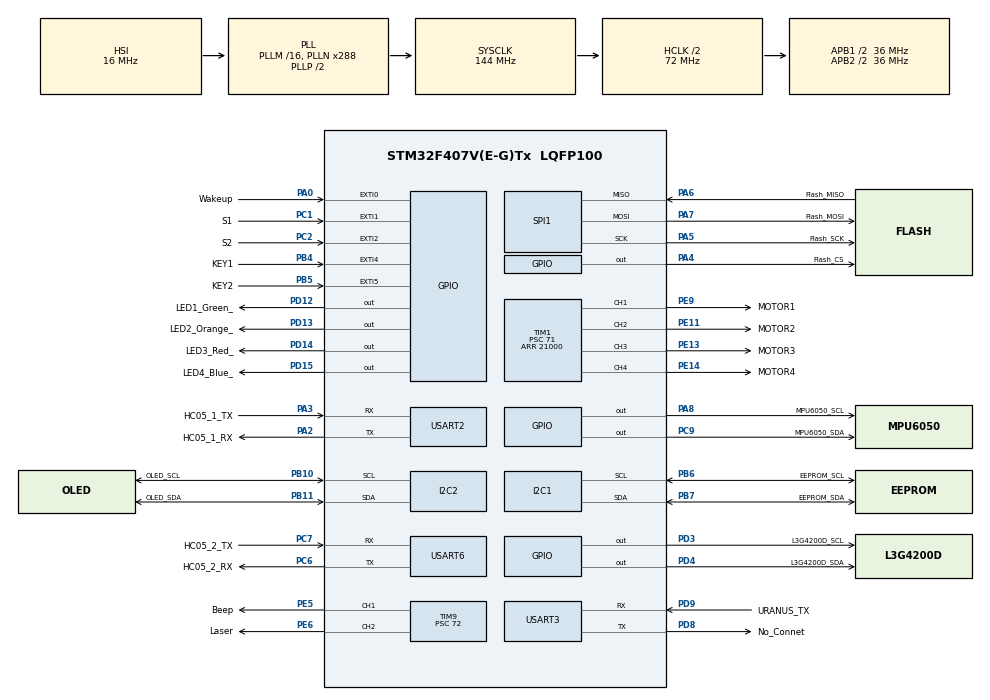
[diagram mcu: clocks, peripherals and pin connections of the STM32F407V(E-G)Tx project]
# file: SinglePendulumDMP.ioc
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Dma.Request0=USART3_RX
Dma.Request1=USART2_RX
Dma.Request2=USART2_TX
Dma.USART2_RX.1.Channel=DMA_CHANNEL_4
Dma.USART2_RX.1.Direction=DMA_PERIPH_TO_MEMORY
Dma.USART2_RX.1.FIFOMode=DMA_FIFOMODE_DISABLE
Dma.USART2_RX.1.Instance=DMA1_Stream5
Dma.USART2_RX.1.MemDataAlignment=DMA_MDATAALIGN_BYTE
Dma.USART2_RX.1.MemInc=DMA_MINC_ENABLE
Dma.USART2_RX.1.Mode=DMA_NORMAL
Dma.USART2_RX.1.PeriphDataAlignment=DMA_PDATAALIGN_BYTE
Dma.USART2_RX.1.PeriphInc=DMA_PINC_DISABLE
Dma.USART2_RX.1.Priority=DMA_PRIORITY_LOW
Dma.USART2_TX.2.Channel=DMA_CHANNEL_4
Dma.USART2_TX.2.Direction=DMA_MEMORY_TO_PERIPH
Dma.USART2_TX.2.FIFOMode=DMA_FIFOMODE_DISABLE
Dma.USART2_TX.2.Instance=DMA1_Stream6
Dma.USART2_TX.2.MemDataAlignment=DMA_MDATAALIGN_BYTE
Dma.USART2_TX.2.MemInc=DMA_MINC_ENABLE
Dma.USART2_TX.2.Mode=DMA_NORMAL
Dma.USART2_TX.2.PeriphDataAlignment=DMA_PDATAALIGN_BYTE
Dma.USART2_TX.2.PeriphInc=DMA_PINC_DISABLE
Dma.USART2_TX.2.Priority=DMA_PRIORITY_LOW
Dma.USART3_RX.0.Channel=DMA_CHANNEL_4
Dma.USART3_RX.0.Direction=DMA_PERIPH_TO_MEMORY
Dma.USART3_RX.0.FIFOMode=DMA_FIFOMODE_DISABLE
Dma.USART3_RX.0.Instance=DMA1_Stream1
Dma.USART3_RX.0.MemDataAlignment=DMA_MDATAALIGN_BYTE
Dma.USART3_RX.0.MemInc=DMA_MINC_ENABLE
Dma.USART3_RX.0.Mode=DMA_CIRCULAR
Dma.USART3_RX.0.PeriphDataAlignment=DMA_PDATAALIGN_BYTE
Dma.USART3_RX.0.PeriphInc=DMA_PINC_DISABLE
Dma.USART3_RX.0.Priority=DMA_PRIORITY_LOW
Mcu.Family=STM32F4
Mcu.Name=STM32F407V(E-G)Tx
Mcu.Package=LQFP100
NVIC.DMA1_Stream1_IRQn=true\:1\:0\:true
NVIC.DMA1_Stream5_IRQn=true\:2\:0\:true
NVIC.DMA1_Stream6_IRQn=true\:3\:0\:true
NVIC.EXTI0_IRQn=true\:0\:0\:false
NVIC.EXTI1_IRQn=true\:0\:0\:false
NVIC.EXTI2_IRQn=true\:0\:0\:false
NVIC.EXTI4_IRQn=true\:0\:0\:false
NVIC.EXTI9_5_IRQn=true\:0\:0\:false
NVIC.PriorityGroup=NVIC_PRIORITYGROUP_4
NVIC.TIM1_TRG_COM_TIM11_IRQn=true\:0\:0\:false
NVIC.TIM3_IRQn=true\:2\:0\:true
NVIC.TIM6_DAC_IRQn=true\:3\:0\:true
NVIC.TIM7_IRQn=true\:2\:0\:true
NVIC.TIM8_UP_TIM13_IRQn=true\:1\:0\:true
NVIC.USART2_IRQn=true\:1\:0\:true
NVIC.USART3_IRQn=true\:2\:0\:true
PA0-WKUP.GPIO_Label=Wakeup
PA0-WKUP.GPIO_ModeDefaultEXTI=GPIO_MODE_IT_RISING
PA0-WKUP.GPIO_PuPd=GPIO_NOPULL
PA0-WKUP.Signal=GPXTI0
PA13.Mode=Serial-Wire
PA13.Signal=SYS_JTMS-SWDIO
PA14.Mode=Serial-Wire
PA14.Signal=SYS_JTCK-SWCLK
PA2.GPIO_Label=HC05_1_RX
PA2.GPIO_Mode=GPIO_MODE_AF_PP
PA2.GPIO_PuPd=GPIO_PULLUP
PA2.GPIO_Speed=GPIO_SPEED_LOW
PA2.Mode=Asynchronous
PA2.Signal=USART2_TX
PA3.GPIO_Label=HC05_1_TX
PA3.GPIO_Mode=GPIO_MODE_AF_PP
PA3.GPIO_PuPd=GPIO_PULLUP
PA3.GPIO_Speed=GPIO_SPEED_LOW
PA3.Mode=Asynchronous
PA3.Signal=USART2_RX
PA4.GPIO_Label=Flash_CS
PA4.GPIO_ModeDefaultOutputPP=GPIO_MODE_OUTPUT_PP
PA4.GPIO_PuPd=GPIO_NOPULL
PA4.GPIO_Speed=GPIO_SPEED_LOW
PA4.Signal=GPIO_Output
PA5.GPIO_Label=Flash_SCK
PA5.GPIO_Mode=GPIO_MODE_AF_PP
PA5.GPIO_PuPd=GPIO_NOPULL
PA5.GPIO_Speed=GPIO_SPEED_LOW
PA5.Mode=Full_Duplex_Master
PA5.Signal=SPI1_SCK
PA6.GPIO_Label=Flash_MISO
PA6.GPIO_Mode=GPIO_MODE_AF_PP
PA6.GPIO_PuPd=GPIO_NOPULL
PA6.GPIO_Speed=GPIO_SPEED_LOW
PA6.Mode=Full_Duplex_Master
PA6.Signal=SPI1_MISO
PA7.GPIO_Label=Flash_MOSI
PA7.GPIO_Mode=GPIO_MODE_AF_PP
PA7.GPIO_PuPd=GPIO_NOPULL
PA7.GPIO_Speed=GPIO_SPEED_LOW
PA7.Mode=Full_Duplex_Master
PA7.Signal=SPI1_MOSI
PA8.GPIO_Label=MPU6050_SCL
PA8.GPIO_ModeDefaultOutputPP=GPIO_MODE_OUTPUT_PP
PA8.GPIO_PuPd=GPIO_NOPULL
PA8.GPIO_Speed=GPIO_SPEED_LOW
PA8.Signal=GPIO_Output
PB10.GPIO_Label=OLED_SCL
PB10.GPIO_Mode=GPIO_MODE_AF_OD
PB10.GPIO_PuPdOD=GPIO_PULLUP
PB10.GPIO_Speed=GPIO_SPEED_LOW
PB10.Mode=I2C
PB10.Signal=I2C2_SCL
PB11.GPIO_Label=OLED_SDA
PB11.GPIO_Mode=GPIO_MODE_AF_OD
PB11.GPIO_PuPdOD=GPIO_PULLUP
PB11.GPIO_Speed=GPIO_SPEED_LOW
PB11.Mode=I2C
PB11.Signal=I2C2_SDA
PB4.GPIO_Label=KEY1
PB4.GPIO_ModeDefaultEXTI=GPIO_MODE_IT_RISING
PB4.GPIO_PuPd=GPIO_PULLDOWN
PB4.Signal=GPXTI4
PB5.GPIO_Label=KEY2
PB5.GPIO_ModeDefaultEXTI=GPIO_MODE_IT_RISING
PB5.GPIO_PuPd=GPIO_PULLDOWN
PB5.Signal=GPXTI5
PB6.GPIO_Label=EEPROM_SCL
PB6.GPIO_Mode=GPIO_MODE_AF_OD
PB6.GPIO_PuPdOD=GPIO_PULLUP
PB6.GPIO_Speed=GPIO_SPEED_LOW
PB6.Mode=I2C
PB6.Signal=I2C1_SCL
PB7.GPIO_Label=EEPROM_SDA
PB7.GPIO_Mode=GPIO_MODE_AF_OD
PB7.GPIO_PuPdOD=GPIO_PULLUP
PB7.GPIO_Speed=GPIO_SPEED_LOW
PB7.Mode=I2C
PB7.Signal=I2C1_SDA
PC1.GPIO_Label=S1
PC1.GPIO_ModeDefaultEXTI=GPIO_MODE_IT_RISING
PC1.GPIO_PuPd=GPIO_PULLDOWN
PC1.Signal=GPXTI1
PC2.GPIO_Label=S2
PC2.GPIO_ModeDefaultEXTI=GPIO_MODE_IT_RISING
PC2.GPIO_PuPd=GPIO_PULLDOWN
PC2.Signal=GPXTI2
PC6.GPIO_Label=HC05_2_RX
PC6.GPIO_Mode=GPIO_MODE_AF_PP
PC6.GPIO_PuPd=GPIO_PULLUP
PC6.GPIO_Speed=GPIO_SPEED_LOW
PC6.Mode=Asynchronous
PC6.Signal=USART6_TX
PC7.GPIO_Label=HC05_2_TX
PC7.GPIO_Mode=GPIO_MODE_AF_PP
PC7.GPIO_PuPd=GPIO_PULLUP
PC7.GPIO_Speed=GPIO_SPEED_LOW
PC7.Mode=Asynchronous
PC7.Signal=USART6_RX
PC9.GPIO_Label=MPU6050_SDA
PC9.GPIO_ModeDefaultOutputPP=GPIO_MODE_OUTPUT_PP
PC9.GPIO_PuPd=GPIO_NOPULL
PC9.GPIO_Speed=GPIO_SPEED_LOW
PC9.Signal=GPIO_Output
PD12.GPIO_Label=LED1_Green_
PD12.GPIO_ModeDefaultOutputPP=GPIO_MODE_OUTPUT_PP
PD12.GPIO_PuPd=GPIO_NOPULL
PD12.GPIO_Speed=GPIO_SPEED_LOW
PD12.Signal=GPIO_Output
PD13.GPIO_Label=LED2_Orange_
PD13.GPIO_ModeDefaultOutputPP=GPIO_MODE_OUTPUT_PP
PD13.GPIO_PuPd=GPIO_NOPULL
PD13.GPIO_Speed=GPIO_SPEED_LOW
PD13.Signal=GPIO_Output
PD14.GPIO_Label=LED3_Red_
PD14.GPIO_ModeDefaultOutputPP=GPIO_MODE_OUTPUT_PP
PD14.GPIO_PuPd=GPIO_NOPULL
PD14.GPIO_Speed=GPIO_SPEED_LOW
PD14.Signal=GPIO_Output
PD15.GPIO_Label=LED4_Blue_
PD15.GPIO_ModeDefaultOutputPP=GPIO_MODE_OUTPUT_PP
PD15.GPIO_PuPd=GPIO_NOPULL
PD15.GPIO_Speed=GPIO_SPEED_LOW
PD15.Signal=GPIO_Output
PD3.GPIO_Label=L3G4200D_SCL
PD3.GPIO_ModeDefaultOutputPP=GPIO_MODE_OUTPUT_PP
PD3.GPIO_PuPd=GPIO_NOPULL
PD3.GPIO_Speed=GPIO_SPEED_LOW
PD3.Signal=GPIO_Output
PD4.GPIO_Label=L3G4200D_SDA
PD4.GPIO_ModeDefaultOutputPP=GPIO_MODE_OUTPUT_PP
PD4.GPIO_PuPd=GPIO_NOPULL
PD4.GPIO_Speed=GPIO_SPEED_LOW
PD4.Signal=GPIO_Output
PD8.GPIO_Label=No_Connet
PD8.GPIO_Mode=GPIO_MODE_AF_PP
PD8.GPIO_PuPd=GPIO_PULLUP
PD8.GPIO_Speed=GPIO_SPEED_LOW
PD8.Mode=Asynchronous
PD8.Signal=USART3_TX
PD9.GPIO_Label=URANUS_TX
PD9.GPIO_Mode=GPIO_MODE_AF_PP
PD9.GPIO_PuPd=GPIO_PULLUP
PD9.GPIO_Speed=GPIO_SPEED_LOW
PD9.Mode=Asynchronous
PD9.Signal=USART3_RX
PE11.GPIO_Label=MOTOR2
PE11.GPIO_ModeDefaultPP=GPIO_MODE_AF_PP
PE11.GPIO_PuPd=GPIO_NOPULL
PE11.GPIO_Speed=GPIO_SPEED_LOW
PE11.Signal=S_TIM1_CH2
PE13.GPIO_Label=MOTOR3
PE13.GPIO_ModeDefaultPP=GPIO_MODE_AF_PP
PE13.GPIO_PuPd=GPIO_NOPULL
PE13.GPIO_Speed=GPIO_SPEED_LOW
PE13.Signal=S_TIM1_CH3
PE14.GPIO_Label=MOTOR4
PE14.GPIO_ModeDefaultPP=GPIO_MODE_AF_PP
PE14.GPIO_PuPd=GPIO_NOPULL
PE14.GPIO_Speed=GPIO_SPEED_LOW
PE14.Signal=S_TIM1_CH4
PE5.GPIO_Label=Beep
PE5.GPIO_ModeDefaultPP=GPIO_MODE_AF_PP
PE5.GPIO_PuPd=GPIO_NOPULL
PE5.GPIO_Speed=GPIO_SPEED_LOW
PE5.Signal=S_TIM9_CH1
PE6.GPIO_Label=Laser
PE6.GPIO_ModeDefaultPP=GPIO_MODE_AF_PP
PE6.GPIO_PuPd=GPIO_NOPULL
PE6.GPIO_Speed=GPIO_SPEED_LOW
PE6.Signal=S_TIM9_CH2
PE9.GPIO_Label=MOTOR1
PE9.GPIO_ModeDefaultPP=GPIO_MODE_AF_PP
PE9.GPIO_PuPd=GPIO_NOPULL
PE9.GPIO_Speed=GPIO_SPEED_LOW
PE9.Signal=S_TIM1_CH1
PH0-OSC_IN.GPIO_Label=8M_In
PH0-OSC_IN.Mode=HSE-External-Oscillator
PH0-OSC_IN.Signal=RCC_OSC_IN
PH1-OSC_OUT.GPIO_Label=8M_Out
PH1-OSC_OUT.Mode=HSE-External-Oscillator
PH1-OSC_OUT.Signal=RCC_OSC_OUT
ProjectManager.TargetToolchain=MDK-ARM 4.73
RCC.48MHZClocksFreq_Value=72000000
RCC.AHBCLKDivider=RCC_SYSCLK_DIV2
RCC.AHBFreq_Value=72000000
RCC.APB1CLKDivider=RCC_HCLK_DIV2
RCC.APB1Freq_Value=36000000
RCC.APB1TimFreq_Value=72000000
RCC.APB2CLKDivider=RCC_HCLK_DIV2
RCC.APB2Freq_Value=36000000
RCC.APB2TimFreq_Value=72000000
RCC.CortexFreq_Value=9000000
RCC.HCLKFreq_Value=72000000
RCC.HSE_VALUE=25000000
RCC.HSI_VALUE=16000000
RCC.LSE_VALUE=32768
RCC.PLLN=288
RCC.SYSCLKFreq_VALUE=144000000
RCC.SYSCLKSource=RCC_SYSCLKSOURCE_PLLCLK
RCC.VCOOutputFreq_Value=288000000
SH.S_TIM1_CH1.0=TIM1_CH1,PWM Generation1 CH1
SH.S_TIM1_CH2.0=TIM1_CH2,PWM Generation2 CH2
SH.S_TIM1_CH3.0=TIM1_CH3,PWM Generation3 CH3
SH.S_TIM1_CH4.0=TIM1_CH4,PWM Generation4 CH4
SH.S_TIM9_CH1.0=TIM9_CH1,PWM Generation1 CH1
SH.S_TIM9_CH2.0=TIM9_CH2,PWM Generation2 CH2
SPI1.BaudRatePrescaler-Full_Duplex_Master=SPI_BAUDRATEPRESCALER_2
SPI1.CalculateBaudRate-Full_Duplex_Master=18.0 MBits/s
SPI1.Mode-Full_Duplex_Master=SPI_MODE_MASTER
TIM1.Channel-PWM\ Generation2\ CH2=TIM_CHANNEL_2
TIM1.Channel-PWM\ Generation3\ CH3=TIM_CHANNEL_3
TIM1.Channel-PWM\ Generation4\ CH4=TIM_CHANNEL_4
TIM1.Period=21000
TIM1.Prescaler=71
TIM1.Pulse-PWM\ Generation1\ CH1=1000
TIM1.Pulse-PWM\ Generation2\ CH2=1000
TIM1.Pulse-PWM\ Generation3\ CH3=1000
TIM1.Pulse-PWM\ Generation4\ CH4=1000
TIM10.Period=65535
TIM10.Prescaler=36000
TIM11.Period=2000
TIM11.Prescaler=36000
TIM13.Period=65535
TIM13.Prescaler=72
TIM14.Period=65535
TIM14.Prescaler=36000
TIM3.ICPolarity_CH1-Input_Capture1_from_TI1=TIM_INPUTCHANNELPOLARITY_BOTHEDGE
TIM3.Period=65535
TIM3.Prescaler=71
TIM5.ClockDivision=TIM_CLOCKDIVISION_DIV4
TIM5.CounterMode=TIM_COUNTERMODE_CENTERALIGNED1
TIM5.Period=1800
TIM5.Prescaler=36000
TIM6.Period=12000
TIM6.Prescaler=36000
TIM7.Period=2000
TIM7.Prescaler=72
TIM8.ClockDivision=TIM_CLOCKDIVISION_DIV4
TIM8.CounterMode=TIM_COUNTERMODE_CENTERALIGNED1
TIM8.Period=1800
TIM8.Prescaler=36000
TIM9.Channel-PWM\ Generation2\ CH2=TIM_CHANNEL_2
TIM9.Period=2000
TIM9.Prescaler=72
TIM9.Pulse-PWM\ Generation1\ CH1=1000
TIM9.Pulse-PWM\ Generation2\ CH2=1000
VP_TIM10_VS_ClockSourceINT.Mode=Enable_Timer
VP_TIM11_VS_ClockSourceINT.Mode=Enable_Timer
VP_TIM13_VS_ClockSourceINT.Mode=Enable_Timer
VP_TIM14_VS_ClockSourceINT.Mode=Enable_Timer
VP_TIM1_VS_ClockSourceINT.Mode=Internal
VP_TIM3_VS_ClockSourceINT.Mode=Internal
VP_TIM3_VS_ClockSourceITR.Mode=TriggerSource_ITR0
VP_TIM3_VS_ControllerModeTrigger.Mode=Trigger Mode
VP_TIM5_VS_ClockSourceINT.Mode=Internal
VP_TIM6_VS_ClockSourceINT.Mode=Enable_Timer
VP_TIM7_VS_ClockSourceINT.Mode=Enable_Timer
VP_TIM8_VS_ClockSourceINT.Mode=Internal
VP_TIM9_VS_ClockSourceINT.Mode=Internal

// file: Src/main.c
/**
  ******************************************************************************
  * File Name          : main.c
  * Date               : 15/08/2015 22:16:48
  * Description        : Main program body
  ******************************************************************************
  *
  * COPYRIGHT(c) 2015 STMicroelectronics
  *
  * Redistribution and use in source and binary forms, with or without modification,
  * are permitted provided that the following conditions are met:
  *   1. Redistributions of source code must retain the above copyright notice,
  *      this list of conditions and the following disclaimer.
  *   2. Redistributions in binary form must reproduce the above copyright notice,
  *      this list of conditions and the following disclaimer in the documentation
  *      and/or other materials provided with the distribution.
  *   3. Neither the name of STMicroelectronics nor the names of its contributors
  *      may be used to endorse or promote products derived from this software
  *      without specific prior written permission.
  *
  * THIS SOFTWARE IS PROVIDED BY THE COPYRIGHT HOLDERS AND CONTRIBUTORS "AS IS"
  * AND ANY EXPRESS OR IMPLIED WARRANTIES, INCLUDING, BUT NOT LIMITED TO, THE
  * IMPLIED WARRANTIES OF MERCHANTABILITY AND FITNESS FOR A PARTICULAR PURPOSE ARE
  * DISCLAIMED. IN NO EVENT SHALL THE COPYRIGHT HOLDER OR CONTRIBUTORS BE LIABLE
  * FOR ANY DIRECT, INDIRECT, INCIDENTAL, SPECIAL, EXEMPLARY, OR CONSEQUENTIAL
  * DAMAGES (INCLUDING, BUT NOT LIMITED TO, PROCUREMENT OF SUBSTITUTE GOODS OR
  * SERVICES; LOSS OF USE, DATA, OR PROFITS; OR BUSINESS INTERRUPTION) HOWEVER
  * CAUSED AND ON ANY THEORY OF LIABILITY, WHETHER IN CONTRACT, STRICT LIABILITY,
  * OR TORT (INCLUDING NEGLIGENCE OR OTHERWISE) ARISING IN ANY WAY OUT OF THE USE
  * OF THIS SOFTWARE, EVEN IF ADVISED OF THE POSSIBILITY OF SUCH DAMAGE.
  *
  ******************************************************************************
  */

#include "stm32f4xx_hal.h"
#include "dma.h"
#include "i2c.h"
#include "spi.h"
#include "tim.h"
#include "usart.h"
#include "gpio.h"

/* USER CODE BEGIN Includes */

//#include "nine_axis_module.h"
#include "PID_Control.h"
#include "motor.h"
//#include "adxl335.h"
//#include "Imu.h"
//#include "dmpctl.h"
#include "Data_Transfer.h"
//#include "IOI2C.h"

#include "mpu6050.h"
#include "inv_mpu.h"
#include "inv_mpu_dmp_motion_driver.h"
#include "coordinatetrans.h"
#include "pendulumcontrol.h"
#include "nine_axis_module.h"
//#include "L3G4200D.h"

/* USER CODE END Includes */

/* USER CODE BEGIN PV */

extern float Motor_Angle_X;

extern float Pitch,Roll,Yaw; 		//欧拉角

extern float Pitch_Der;              //Pitch变化率期望
extern float Roll_Der;               //Roll变化率期望

extern WorkStatus workstatus;
extern FlagStatus press;
extern FunctionalState state;

extern FlagStatus Receive;
extern uint16_t Mode;
extern uint16_t MOTOR1;
extern uint16_t MOTOR2;
extern uint16_t MOTOR3;
extern uint16_t MOTOR4;

extern float q0,q1,q2,q3;

extern float gx;
extern float gy;
extern float gz;

/* 引用自Uranus.c */
extern int16_t Gyro_X;
extern int16_t Gyro_Y;
extern int16_t Gyro_Z;
/* ------------- */

extern uint8_t uart3_RX_data[32];

extern uint8_t uart2_RX_data[100];

Quaternion q;
AxisAngle AA;

uint8_t Hz57 = 0;
uint8_t Hz167 = 0;

//extern PID_Struct PID_Roll_Struct;

/* USER CODE END PV */

void SystemClock_Config(void);

int main(void)
{

  /* MCU Configuration----------------------------------------------------------*/

  /* Reset of all peripherals, Initializes the Flash interface and the Systick. */
  HAL_Init();

  /* Configure the system clock */
  SystemClock_Config();

  /* Initialize all configured peripherals */
  MX_GPIO_Init();
  MX_DMA_Init();
  MX_I2C1_Init();
  MX_I2C2_Init();
  MX_SPI1_Init();
  MX_TIM1_Init();
  MX_TIM3_Init();
  MX_TIM5_Init();
  MX_TIM6_Init();
  MX_TIM7_Init();
  MX_TIM8_Init();
  MX_TIM9_Init();
  MX_TIM10_Init();
  MX_TIM11_Init();
  MX_TIM13_Init();
  MX_TIM14_Init();
  MX_USART2_UART_Init();
  MX_USART3_UART_Init();
  MX_USART6_UART_Init();

  /* USER CODE BEGIN 2 */

	HAL_UART_Receive_DMA(&huart2, uart3_RX_data, 12);

	HAL_TIM_PWM_Start(&htim1, TIM_CHANNEL_1);
	HAL_TIM_PWM_Start(&htim1, TIM_CHANNEL_2);
	HAL_TIM_PWM_Start(&htim1, TIM_CHANNEL_3);
	HAL_TIM_PWM_Start(&htim1, TIM_CHANNEL_4);

	HAL_GPIO_WritePin(GPIOD, GPIO_PIN_12, GPIO_PIN_SET);
	HAL_GPIO_WritePin(GPIOD, GPIO_PIN_13, GPIO_PIN_SET);
	HAL_GPIO_WritePin(GPIOD, GPIO_PIN_14, GPIO_PIN_SET);
	HAL_GPIO_WritePin(GPIOD, GPIO_PIN_15, GPIO_PIN_SET);

	HAL_GPIO_WritePin(GPIOE, GPIO_PIN_6, GPIO_PIN_SET);

	/* 初始化电调 */
//	while(1)
//	{
////		TIM1_Motor_PWMOutput(PWMInCh3, PWMInCh3, PWMInCh3, PWMInCh3);
//		if(press == SET)
//		{
//			TIM1_Motor_PWMOutput(1000, 1000, 1000, 1000);
//			for(uint16_t i=0; i<=500; i++)
//    	{
//				__NOP();
//			}
//			break;
//		}
//		HAL_GPIO_WritePin(GPIOD, GPIO_PIN_14, GPIO_PIN_SET);   //Red light on

//  }

	printf("\n Init \n\r");

	Init_L3G4200D();
	MPU_Init();					//初始化MPU6050

	while(mpu_dmp_init())
	{
		printf("\n MPU6050 Error \n\r");
	}

	HAL_GPIO_WritePin(GPIOD, GPIO_PIN_14, GPIO_PIN_RESET);   //Red light off

//	mpu6050_dmp_init();
  while(mpu_dmp_get_data(&Pitch,&Roll,&Yaw))
  {
//		if(mpu_dmp_get_data(&Pitch,&Roll,&Yaw)==0)
//		{
			printf("\nRead Error\n\r");
//			printf("\n%f\n\r", Pitch);
//		}
//	 DMP_update();
//	 printf("%f   ,   %f   ,   %f    \r\n",Pitch,Roll,Yaw);
	 delay_ms(10);

  }

//	MPU6050_initialize();
//
//	if(MPU6050_testConnection() == 0)
//	{
//		printf("\n error \n\r");
//		while(1);//
//	}

	printf("\n OK \n\r");

//	while(1)   //加速度计矫正
//	{
//		MPU6050_Read();
//		MPU6050_Dataanl();
//	}

	PID_Init(&PID_Para); //用于将(&PID_Para)->Kp、(&PID_Para)->Ti、(&PID_Para)->Td清零，与PID控制程序无关
  PID_Init(&PID_Roll_Struct);	 //初始化PID参数
  PID_Init(&PID_Pitch_Struct);
  PID_Init(&PID_Z_Struct);

	PID_Init(&PID_Pitch_Rate_Struct);
  PID_Init(&PID_Roll_Rate_Struct);

//	HAL_TIM_Base_Start_IT(&htim6);      //Time6可开启中断，开启中断表明用于电机响应记录，不开中断用于计算采样时间
	HAL_TIM_Base_Start(&htim10);          //Time10用于记录PID时间
	HAL_TIM_Base_Start_IT(&htim7);        //Time7用于数据发送管理,及程序时间管理
//	HAL_TIM_Base_Start_IT(&htim11);     //Time11用于产生周期性力
  HAL_TIM_Base_Start(&htim13);

	HAL_TIM_Base_Start(&htim10);          //Time10用于记录角度PID时间
	HAL_TIM_Base_Start(&htim14);          //Time14用于记录角速度PID时间

	HAL_TIM_Base_Start(&htim8);          //Time8用于期望值改变
//	HAL_TIM_Base_Start(&htim5);

	workstatus = OnState;

////	PID_Roll_Struct.Kp=0.8;
	PID_Roll_Struct.Kp=0;
//
	PID_Pitch_Struct.Kp=0;

	PID_Pitch_Rate_Struct.Kp = 0;
	PID_Pitch_Rate_Struct.Ti = 0;
	PID_Pitch_Rate_Struct.Td = 0;

	PID_Roll_Rate_Struct.Kp = 0;
	PID_Roll_Rate_Struct.Ti = 0;
	PID_Roll_Rate_Struct.Td = 0;

//	PID_Roll_Struct.Kp=0.8;
//	PID_Roll_Struct.Kp=0;
//
//	PID_Pitch_Struct.Kp=0;
//
//	PID_Pitch_Rate_Struct.Kp = 1.3;
//	PID_Pitch_Rate_Struct.Ti = 0;
//	PID_Pitch_Rate_Struct.Td = 0.03;
//
//	PID_Roll_Rate_Struct.Kp = 1.1;
//	PID_Roll_Rate_Struct.Ti = 0;
//	PID_Roll_Rate_Struct.Td = 0.03;

//	float temp=0;

   Mode = 1;

  /* USER CODE END 2 */

  /* USER CODE BEGIN 3 */
  /* Infinite loop */
  while (1)
  {
		mpu_dmp_get_data(&Pitch,&Roll,&Yaw);
		MPU_Get_Gyroscope(&gx, &gy, &gz);
//		Read_L3G4200D();

//		printf("\n %f \n\r", Get_Sampletime());

		Send_Data();
//		printf("\n m=%f \n\t", Motor_Angle_X);

//		printf("\n %d \n\r", TIM8->CNT);

		if(Hz57 == 1)
		{
			Hz57 = 0;
			CtrlAttiAng();
		}

		if(Hz167 == 1)
		{
			Hz167 = 0;
			CtrlAttiRate();
		}
//

//		MOTOR_CAL();

		if((workstatus == OnState) && (state == ENABLE))
		{
			TIM1_Motor_PWMOutput(MOTOR1, MOTOR2, MOTOR3, MOTOR4);

//			pendulum_control_EPeriod();
//			  pendulum_control_EAmplitude();

//			Expect_Change(&PID_Pitch_Struct, 20, 2, 200);

//			TIM1_Motor_PWMOutput(1000, 1000, 1000, 1500);

		}
		else
		{
//			__HAL_TIM_DISABLE_IT(&htim6, TIM_IT_UPDATE);

			TIM1_Motor_PWMOutput(1000, 1000, 1000, 1000);
//			HAL_TIM_PWM_Stop(&htim9, TIM_CHANNEL_1);
		}

  }
  /* USER CODE END 3 */

}

/** System Clock Configuration
*/
void SystemClock_Config(void)
{

  RCC_OscInitTypeDef RCC_OscInitStruct;
  RCC_ClkInitTypeDef RCC_ClkInitStruct;

  __PWR_CLK_ENABLE();

  __HAL_PWR_VOLTAGESCALING_CONFIG(PWR_REGULATOR_VOLTAGE_SCALE2);

  RCC_OscInitStruct.OscillatorType = RCC_OSCILLATORTYPE_HSI;
  RCC_OscInitStruct.HSIState = RCC_HSI_ON;
  RCC_OscInitStruct.HSICalibrationValue = 6;
  RCC_OscInitStruct.PLL.PLLState = RCC_PLL_ON;
  RCC_OscInitStruct.PLL.PLLSource = RCC_PLLSOURCE_HSI;
  RCC_OscInitStruct.PLL.PLLM = 16;
  RCC_OscInitStruct.PLL.PLLN = 288;
  RCC_OscInitStruct.PLL.PLLP = RCC_PLLP_DIV2;
  RCC_OscInitStruct.PLL.PLLQ = 4;
  HAL_RCC_OscConfig(&RCC_OscInitStruct);

  RCC_ClkInitStruct.ClockType = RCC_CLOCKTYPE_HCLK|RCC_CLOCKTYPE_SYSCLK
                              |RCC_CLOCKTYPE_PCLK1|RCC_CLOCKTYPE_PCLK2;
  RCC_ClkInitStruct.SYSCLKSource = RCC_SYSCLKSOURCE_PLLCLK;
  RCC_ClkInitStruct.AHBCLKDivider = RCC_SYSCLK_DIV2;
  RCC_ClkInitStruct.APB1CLKDivider = RCC_HCLK_DIV2;
  RCC_ClkInitStruct.APB2CLKDivider = RCC_HCLK_DIV2;
  HAL_RCC_ClockConfig(&RCC_ClkInitStruct, FLASH_LATENCY_2);

}

/* USER CODE BEGIN 4 */

void HAL_SYSTICK_Callback(void)
{

}

/* USER CODE END 4 */

/************************ (C) COPYRIGHT STMicroelectronics *****END OF FILE****/
